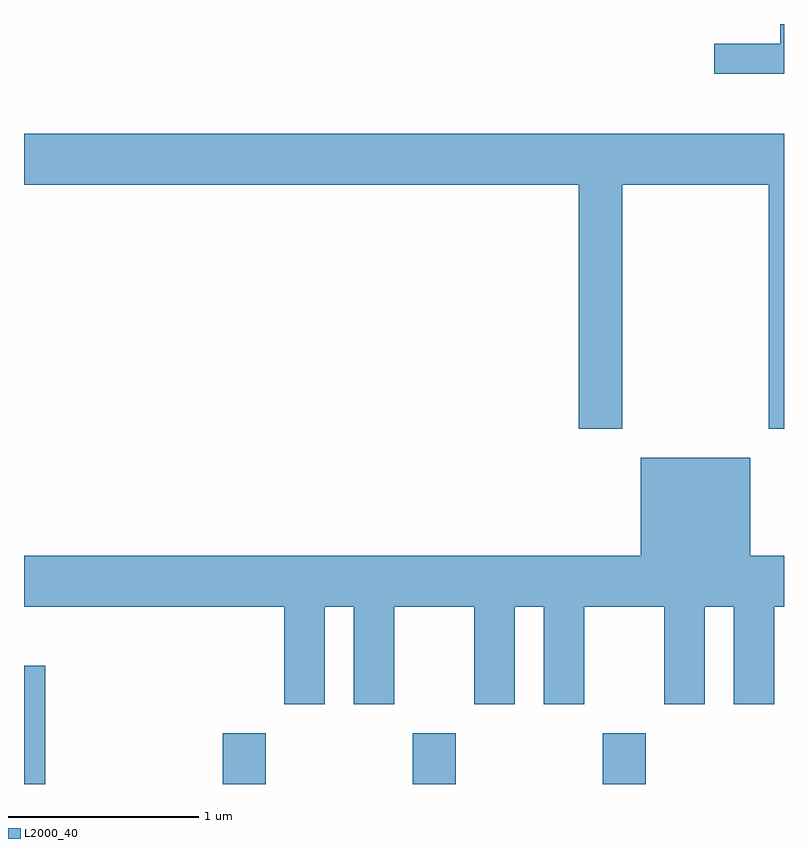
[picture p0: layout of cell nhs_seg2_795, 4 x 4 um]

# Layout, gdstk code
import gdstk
lib = gdstk.Library(unit=1e-6, precision=1e-09)
def R(c, l, rs):  # rectangles x0, y0, x1, y1
    for r in rs: c.add(gdstk.rectangle(r[:2], r[2:], *l))
def A(c, l, x, y, w, h, nx, ny, dx, dy):  # array of equal rectangles
    R(c, l, [(x+i*dx, y+j*dy, x+i*dx+w, y+j*dy+h) for i in range(nx) for j in range(ny)])
def P(c, l, *ps):  # polygons
    for p in ps: c.add(gdstk.Polygon(p, *l))
L2000_40 = (2000, 40)

nhs_seg2_795 = lib.new_cell('nhs_seg2_795')
A(nhs_seg2_795, L2000_40, 208.656, 1071.802, 0.228, 0.267, 3, 1, 1, 0)
R(nhs_seg2_795, L2000_40, [(207.611,1071.802,207.724,1072.424)])
P(nhs_seg2_795, L2000_40, [(211.611,1075.802),(211.591,1075.802),(211.591,1075.699),(211.243,1075.699),(211.243,1075.541),(211.611,1075.541)],
  [(210.759,1074.956),(211.531,1074.956),(211.531,1073.671),(211.611,1073.671),(211.611,1075.224),(207.611,1075.224),(207.611,1074.956),(210.531,1074.956),(210.531,1073.671),(210.759,1073.671)],
  [(209.194,1072.736),(209.346,1072.736),(209.346,1072.221),(209.559,1072.221),(209.559,1072.736),(209.981,1072.736),(209.981,1072.221),(210.194,1072.221),(210.194,1072.736),(210.346,1072.736),(210.346,1072.221),(210.559,1072.221),(210.559,1072.736),(210.981,1072.736),(210.981,1072.221),(211.194,1072.221),(211.194,1072.736),(211.346,1072.736),(211.346,1072.221),(211.559,1072.221),(211.559,1072.736),(211.611,1072.736),(211.611,1073.004),(211.434,1073.004),(211.434,1073.519),(210.856,1073.519),(210.856,1073.004),(207.611,1073.004),(207.611,1072.736),(208.981,1072.736),(208.981,1072.221),(209.194,1072.221)])

lib.write_gds('nhs_seg2_795.gds')
